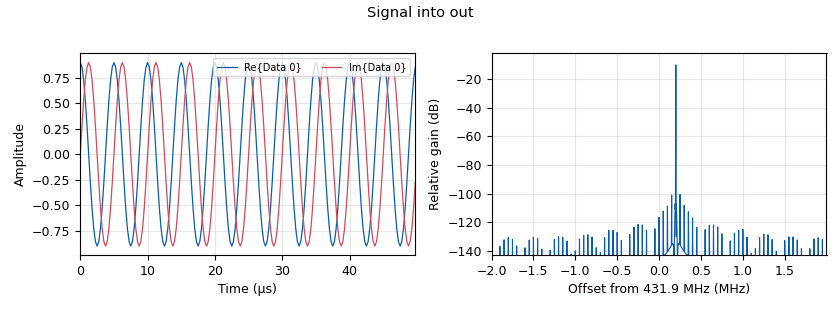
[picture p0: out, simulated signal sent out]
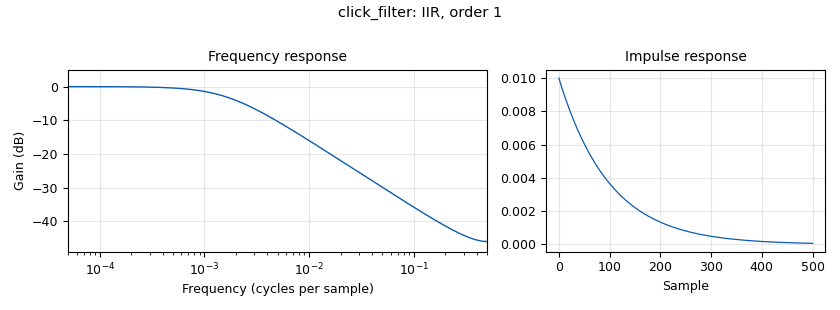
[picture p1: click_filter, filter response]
<?xml version='1.0' encoding='utf-8'?>
<?grc format='1' created='3.7.10'?>
<flow_graph>
<block>
<key>options</key>
<param><key>id</key><value>blade_tx</value></param>
<param><key>category</key><value>Custom</value></param>
<param><key>generate_options</key><value>no_gui</value></param>
<param><key>run_options</key><value>run</value></param>
</block>
<block>
<key>variable</key>
<param><key>id</key><value>audio_rate</value></param>
<param><key>value</key><value>samp_rate / interpolation</value></param>
</block>
<block>
<key>variable</key>
<param><key>id</key><value>band</value></param>
<param><key>value</key><value>432</value></param>
</block>
<block>
<key>variable</key>
<param><key>id</key><value>bb_gain</value></param>
<param><key>value</key><value>-25</value></param>
</block>
<block>
<key>variable</key>
<param><key>id</key><value>correction</value></param>
<param><key>value</key><value>0</value></param>
</block>
<block>
<key>variable</key>
<param><key>id</key><value>cw_vector</value></param>
<param><key>value</key><value>(1,0,1,0,1,0,1,1,1, 0,0,0, 1,0,1,0,1,0,1,1,1, 0,0,0, 1,0,1,0,1,0,1,1,1, 0,0,0,0,0,0,0, 1,1,1,0,1,0,1, 0,0,0, 1, 0,0,0,0,0,0,0, 1,0,1,0,1,0,1,1,1, 0,0,0, 1, 0,0,0, 1,0,1,0,1,0,1,1,1,0,1,1,1, 0,0,0, 1,0,1, 0,0,0, 1,0,1,1,1,0,1, 0,0,0, 1,0,1,1,1,0,1, 0,0,0,0,0,0,0, 1,1,1, 0,0,0, 1, 0,0,0, 1,0,1,0,1, 0,0,0, 1,1,1, 0,0,0, 1,0,1, 0,0,0, 1,1,1,0,1, 0,0,0, 1,1,1,0,1,1,1,0,1, 0,0,0,0,0,0,0)</value></param>
</block>
<block>
<key>variable</key>
<param><key>id</key><value>interpolation</value></param>
<param><key>value</key><value>80</value></param>
</block>
<block>
<key>variable</key>
<param><key>id</key><value>offset</value></param>
<param><key>value</key><value>200000</value></param>
</block>
<block>
<key>variable</key>
<param><key>id</key><value>rf_gain</value></param>
<param><key>value</key><value>10</value></param>
</block>
<block>
<key>variable</key>
<param><key>id</key><value>samp_rate</value></param>
<param><key>value</key><value>4000000</value></param>
</block>
<block>
<key>variable</key>
<param><key>id</key><value>tune</value></param>
<param><key>value</key><value>100</value></param>
</block>
<block>
<key>variable</key>
<param><key>id</key><value>wpm</value></param>
<param><key>value</key><value>15</value></param>
</block>
<block>
<key>blocks_add_const_vxx</key>
<param><key>id</key><value>blocks_add_const_vxx_0</value></param>
<param><key>const</key><value>0.000001</value></param>
<param><key>type</key><value>complex</value></param>
</block>
<block>
<key>single_pole_iir_filter_xx</key>
<param><key>id</key><value>click_filter</value></param>
<param><key>alpha</key><value>1e-2</value></param>
<param><key>type</key><value>complex</value></param>
</block>
<block>
<key>blocks_repeat</key>
<param><key>id</key><value>cw_repeat</value></param>
<param><key>interp</key><value>int(1.2 * audio_rate / wpm)</value></param>
<param><key>type</key><value>complex</value></param>
</block>
<block>
<key>blocks_vector_source_x</key>
<param><key>id</key><value>cw_vector_source</value></param>
<param><key>type</key><value>complex</value></param>
<param><key>repeat</key><value>False</value></param>
<param><key>vector</key><value>cw_vector</value></param>
</block>
<block>
<key>blocks_multiply_xx</key>
<param><key>id</key><value>mixer</value></param>
<param><key>type</key><value>complex</value></param>
</block>
<block>
<key>analog_sig_source_x</key>
<param><key>id</key><value>offset_osc</value></param>
<param><key>amp</key><value>0.9</value></param>
<param><key>freq</key><value>tune * 1000 + 100000</value></param>
<param><key>offset</key><value>0</value></param>
<param><key>type</key><value>complex</value></param>
<param><key>samp_rate</key><value>samp_rate</value></param>
<param><key>waveform</key><value>analog.GR_COS_WAVE</value></param>
</block>
<block>
<key>osmosdr_sink</key>
<param><key>id</key><value>out</value></param>
<param><key>bb_gain0</key><value>bb_gain</value></param>
<param><key>corr0</key><value>correction</value></param>
<param><key>freq0</key><value>band * 1e6 + 100000 - offset</value></param>
<param><key>if_gain0</key><value>0</value></param>
<param><key>gain0</key><value>rf_gain</value></param>
<param><key>args</key><value></value></param>
<param><key>type</key><value>fc32</value></param>
<param><key>sample_rate</key><value>samp_rate</value></param>
<param><key>sync</key><value></value></param>
</block>
<block>
<key>rational_resampler_xxx</key>
<param><key>id</key><value>resamp</value></param>
<param><key>decim</key><value>1</value></param>
<param><key>interp</key><value>interpolation</value></param>
<param><key>taps</key><value></value></param>
<param><key>type</key><value>ccc</value></param>
</block>
<connection><source_block_id>blocks_add_const_vxx_0</source_block_id><sink_block_id>resamp</sink_block_id><source_key>0</source_key><sink_key>0</sink_key></connection>
<connection><source_block_id>click_filter</source_block_id><sink_block_id>blocks_add_const_vxx_0</sink_block_id><source_key>0</source_key><sink_key>0</sink_key></connection>
<connection><source_block_id>cw_repeat</source_block_id><sink_block_id>click_filter</sink_block_id><source_key>0</source_key><sink_key>0</sink_key></connection>
<connection><source_block_id>cw_vector_source</source_block_id><sink_block_id>cw_repeat</sink_block_id><source_key>0</source_key><sink_key>0</sink_key></connection>
<connection><source_block_id>mixer</source_block_id><sink_block_id>out</sink_block_id><source_key>0</source_key><sink_key>0</sink_key></connection>
<connection><source_block_id>offset_osc</source_block_id><sink_block_id>mixer</sink_block_id><source_key>0</source_key><sink_key>0</sink_key></connection>
<connection><source_block_id>resamp</source_block_id><sink_block_id>mixer</sink_block_id><source_key>0</source_key><sink_key>1</sink_key></connection>
</flow_graph>
